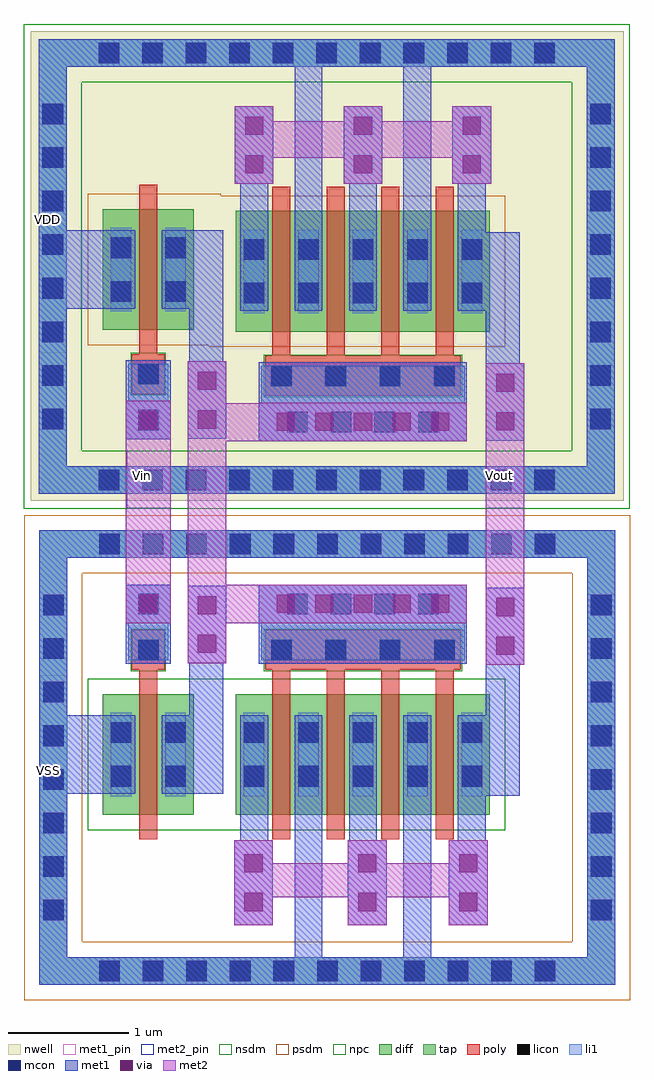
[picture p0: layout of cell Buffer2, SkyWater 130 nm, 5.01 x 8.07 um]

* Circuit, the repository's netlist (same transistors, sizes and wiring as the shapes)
** sch_path: /foss/designs/Buffer/Buffer2.sch
.subckt Buffer2 VDD Vin Vout VSS
*.PININFO VDD:B Vin:B Vout:B VSS:B
M1 net1 Vin VSS VSS sky130_fd_pr__nfet_01v8 L=0.15 W=1 nf=1 ad='int((nf+1)/2) * W/nf * 0.29' as='int((nf+2)/2) * W/nf * 0.29' pd='2*int((nf+1)/2) * (W/nf + 0.29)'
+ ps='2*int((nf+2)/2) * (W/nf + 0.29)' nrd='0.29 / W' nrs='0.29 / W' sa=0 sb=0 sd=0 mult=1 m=1
M2 net1 Vin VDD VDD sky130_fd_pr__pfet_01v8 L=0.15 W=1 nf=1 ad='int((nf+1)/2) * W/nf * 0.29' as='int((nf+2)/2) * W/nf * 0.29' pd='2*int((nf+1)/2) * (W/nf + 0.29)'
+ ps='2*int((nf+2)/2) * (W/nf + 0.29)' nrd='0.29 / W' nrs='0.29 / W' sa=0 sb=0 sd=0 mult=1 m=1
M3 Vout net1 VSS VSS sky130_fd_pr__nfet_01v8 L=0.15 W=1 nf=1 ad='int((nf+1)/2) * W/nf * 0.29' as='int((nf+2)/2) * W/nf * 0.29' pd='2*int((nf+1)/2) * (W/nf + 0.29)'
+ ps='2*int((nf+2)/2) * (W/nf + 0.29)' nrd='0.29 / W' nrs='0.29 / W' sa=0 sb=0 sd=0 mult=4 m=4
M4 Vout net1 VDD VDD sky130_fd_pr__pfet_01v8 L=0.15 W=1 nf=1 ad='int((nf+1)/2) * W/nf * 0.29' as='int((nf+2)/2) * W/nf * 0.29' pd='2*int((nf+1)/2) * (W/nf + 0.29)'
+ ps='2*int((nf+2)/2) * (W/nf + 0.29)' nrd='0.29 / W' nrs='0.29 / W' sa=0 sb=0 sd=0 mult=4 m=4
.ends
.end

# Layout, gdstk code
import gdstk
lib = gdstk.Library(unit=1e-6, precision=1e-09)
def R(c, l, rs):  # rectangles x0, y0, x1, y1
    for r in rs: c.add(gdstk.rectangle(r[:2], r[2:], *l))
def A(c, l, x, y, w, h, nx, ny, dx, dy):  # array of equal rectangles
    R(c, l, [(x+i*dx, y+j*dy, x+i*dx+w, y+j*dy+h) for i in range(nx) for j in range(ny)])
def P(c, l, *ps):  # polygons
    for p in ps: c.add(gdstk.Polygon(p, *l))
nwell = (64, 20)
diff = (65, 20)
tap = (65, 44)
poly = (66, 20)
licon = (66, 44)
li1 = (67, 20)
mcon = (67, 44)
met1_pin = (68, 16)
met1 = (68, 20)
via = (68, 44)
met2_pin = (69, 16)
met2 = (69, 20)
nsdm = (93, 44)
psdm = (94, 20)
npc = (95, 20)

pfet_1 = lib.new_cell('pfet$1')
R(pfet_1, nwell, [(-0.305,-0.72,1.055,1.38)])
R(pfet_1, diff, [(0,0,0.75,1)])
R(pfet_1, poly, [(0.24,-0.53,0.51,-0.2), (0.3,-0.2,0.45,1.2)])
R(pfet_1, licon, [(0.29,-0.45,0.46,-0.28), (0.065,0.235,0.235,0.405), (0.515,0.235,0.685,0.405), (0.065,0.595,0.235,0.765), (0.515,0.595,0.685,0.765)])
R(pfet_1, li1, [(0.21,-0.45,0.54,-0.28), (0.065,0.155,0.235,0.845), (0.515,0.155,0.685,0.845)])
R(pfet_1, mcon, [(0.29,-0.45,0.46,-0.28), (0.065,0.235,0.235,0.405), (0.515,0.235,0.685,0.405), (0.065,0.595,0.235,0.765), (0.515,0.595,0.685,0.765)])
R(pfet_1, met1, [(0.19,-0.48,0.56,-0.25), (0.035,0.175,0.265,0.825), (0.485,0.175,0.715,0.825)])
R(pfet_1, psdm, [(-0.125,-0.125,0.875,1.125)])
R(pfet_1, npc, [(0.23,-0.54,0.52,-0.19)])

nfet = lib.new_cell('nfet')
R(nfet, diff, [(0,0,0.75,1)])
R(nfet, poly, [(0.3,-0.2,0.45,1.2), (0.24,1.2,0.51,1.53)])
R(nfet, licon, [(0.065,0.235,0.235,0.405), (0.515,0.235,0.685,0.405), (0.065,0.595,0.235,0.765), (0.515,0.595,0.685,0.765), (0.29,1.28,0.46,1.45)])
R(nfet, li1, [(0.065,0.155,0.235,0.845), (0.515,0.155,0.685,0.845), (0.21,1.28,0.54,1.45)])
R(nfet, mcon, [(0.065,0.235,0.235,0.405), (0.515,0.235,0.685,0.405), (0.065,0.595,0.235,0.765), (0.515,0.595,0.685,0.765), (0.29,1.28,0.46,1.45)])
R(nfet, met1, [(0.035,0.175,0.265,0.825), (0.485,0.175,0.715,0.825), (0.19,1.25,0.56,1.48)])
R(nfet, nsdm, [(-0.125,-0.125,0.875,1.125)])
R(nfet, npc, [(0.23,1.19,0.52,1.54)])

vias_gen_10 = lib.new_cell('vias_gen$10')
R(vias_gen_10, li1, [(0,0,0.37,0.32)])
R(vias_gen_10, mcon, [(0.1,0.075,0.27,0.245)])
R(vias_gen_10, met1, [(0,0,0.37,0.32)])
R(vias_gen_10, via, [(0.11,0.085,0.26,0.235)])
R(vias_gen_10, met2, [(0,0,0.37,0.32)])

vias_gen_9 = lib.new_cell('vias_gen$9')
R(vias_gen_9, li1, [(0,0,1.72,0.32)])
A(vias_gen_9, mcon, 0.235, 0.075, 0.17, 0.17, 4, 1, 0.36, 0)
R(vias_gen_9, met1, [(0,0,1.72,0.32)])
A(vias_gen_9, via, 0.145, 0.085, 0.15, 0.15, 5, 1, 0.32, 0)
R(vias_gen_9, met2, [(0,0,1.72,0.32)])

guard_ring_gen = lib.new_cell('guard_ring_gen')
P(guard_ring_gen, tap, [(-0.23,-0.23),(-0.23,3.3),(0,3.3),(0,0),(4.3,0),(4.3,3.3),(-0.23,3.3),(-0.23,3.53),(4.53,3.53),(4.53,-0.23)])
A(guard_ring_gen, licon, 0.265, -0.2, 0.17, 0.17, 11, 2, 0.36, 3.53)
A(guard_ring_gen, licon, -0.2, 0.305, 0.17, 0.17, 1, 8, 0, 0.36)
A(guard_ring_gen, licon, 4.33, 0.305, 0.17, 0.17, 1, 8, 0, 0.36)
P(guard_ring_gen, li1, [(-0.23,-0.23),(-0.23,3.3),(0,3.3),(0,0),(4.3,0),(4.3,3.3),(-0.23,3.3),(-0.23,3.53),(4.53,3.53),(4.53,-0.23)])
A(guard_ring_gen, mcon, 0.265, -0.2, 0.17, 0.17, 11, 2, 0.36, 3.53)
A(guard_ring_gen, mcon, -0.2, 0.305, 0.17, 0.17, 1, 8, 0, 0.36)
A(guard_ring_gen, mcon, 4.33, 0.305, 0.17, 0.17, 1, 8, 0, 0.36)
P(guard_ring_gen, met1, [(-0.23,-0.23),(-0.23,3.3),(0,3.3),(0,0),(4.3,0),(4.3,3.3),(-0.23,3.3),(-0.23,3.53),(4.53,3.53),(4.53,-0.23)])
P(guard_ring_gen, nsdm, [(-0.355,-0.355),(-0.355,3.175),(0.125,3.175),(0.125,0.125),(4.175,0.125),(4.175,3.175),(-0.355,3.175),(-0.355,3.655),(4.655,3.655),(4.655,-0.355)])

guard_ring_gen_1 = lib.new_cell('guard_ring_gen$1')
P(guard_ring_gen_1, tap, [(-0.23,-0.23),(-0.23,3.3),(0,3.3),(0,0),(4.3,0),(4.3,3.3),(-0.23,3.3),(-0.23,3.53),(4.53,3.53),(4.53,-0.23)])
A(guard_ring_gen_1, licon, 0.265, -0.2, 0.17, 0.17, 11, 2, 0.36, 3.53)
A(guard_ring_gen_1, licon, -0.2, 0.305, 0.17, 0.17, 1, 8, 0, 0.36)
A(guard_ring_gen_1, licon, 4.33, 0.305, 0.17, 0.17, 1, 8, 0, 0.36)
P(guard_ring_gen_1, li1, [(-0.23,-0.23),(-0.23,3.3),(0,3.3),(0,0),(4.3,0),(4.3,3.3),(-0.23,3.3),(-0.23,3.53),(4.53,3.53),(4.53,-0.23)])
A(guard_ring_gen_1, mcon, 0.265, -0.2, 0.17, 0.17, 11, 2, 0.36, 3.53)
A(guard_ring_gen_1, mcon, -0.2, 0.305, 0.17, 0.17, 1, 8, 0, 0.36)
A(guard_ring_gen_1, mcon, 4.33, 0.305, 0.17, 0.17, 1, 8, 0, 0.36)
P(guard_ring_gen_1, met1, [(-0.23,-0.23),(-0.23,3.3),(0,3.3),(0,0),(4.3,0),(4.3,3.3),(-0.23,3.3),(-0.23,3.53),(4.53,3.53),(4.53,-0.23)])
P(guard_ring_gen_1, psdm, [(-0.355,-0.355),(-0.355,3.175),(0.125,3.175),(0.125,0.125),(4.175,0.125),(4.175,3.175),(-0.355,3.175),(-0.355,3.655),(4.655,3.655),(4.655,-0.355)])

vias_gen_1 = lib.new_cell('vias_gen$1')
R(vias_gen_1, met1, [(0,0,0.32,0.7)])
R(vias_gen_1, via, [(0.085,0.115,0.235,0.265), (0.085,0.435,0.235,0.585)])
R(vias_gen_1, met2, [(0,0,0.32,0.7)])

vias_gen = lib.new_cell('vias_gen')
R(vias_gen, met1, [(0,0,0.32,0.64)])
R(vias_gen, via, [(0.085,0.085,0.235,0.235), (0.085,0.405,0.235,0.555)])
R(vias_gen, met2, [(0,0,0.32,0.64)])

buffer2 = lib.new_cell('Buffer2')
R(buffer2, nwell, [(-0.335,1.395,4.565,5.275)])
A(buffer2, poly, 1.87, -0.005, 0.18, 0.33, 3, 2, 0.45, 2.265)
A(buffer2, li1, 1.9, 0.075, 0.12, 0.17, 3, 2, 0.45, 2.265)
R(buffer2, li1, [(0.47,0.245,0.8,0.38), (1.57,0.245,3.25,0.38), (1.57,2.205,3.25,2.34), (0.47,2.22,0.8,2.355)])
R(buffer2, met1_pin, [(-0.26,-1.94,-0.035,-0.05), (-0.27,2.615,-0.045,4.505)])
A(buffer2, met1, 1.92, 0.045, 0.08, 0.23, 3, 2, 0.45, 2.265)
A(buffer2, met1, 1.395, 3.615, 0.23, 0.4, 3, 1, 0.9, 0)
R(buffer2, met1, [(1.845,-2.38,2.075,-1.03), (2.745,-2.38,2.975,-1.03), (1.395,-1.42,1.625,-1.03), (2.295,-1.415,2.525,-1.03), (3.195,-1.415,3.425,-1.03), (3.425,-1.045,3.705,0.035), (-0.035,-1.03,0.295,-0.38), (0.975,-1.03,1.255,0.05), (0.45,0.275,0.82,0.38), (1.55,0.275,3.27,0.38), (1.55,2.205,3.27,2.31), (0.45,2.22,0.82,2.325), (3.425,2.53,3.705,3.615), (0.975,2.545,1.255,3.63), (-0.04,2.98,0.295,3.63), (1.845,3.615,2.075,4.985), (2.745,3.615,2.975,4.985)])
R(buffer2, met2_pin, [(0.455,1.33,0.82,1.805), (3.425,1.33,3.745,1.68)])
R(buffer2, met2, [(1.63,-1.885,2.3,-1.605), (2.565,-1.885,3.145,-1.605), (1.28,0.38,1.55,0.7), (3.425,0.675,3.745,1.89), (0.96,0.69,1.28,1.905), (0.45,0.7,0.82,1.9), (1.28,1.885,1.55,2.2), (1.67,4.23,2.25,4.53), (2.57,4.23,3.15,4.53)])
R(buffer2, nsdm, [(1.135,-1.33,1.235,-0.08)])
R(buffer2, psdm, [(1.135,2.665,1.235,3.93)])
A(buffer2, npc, 1.88, -0.015, 0.16, 0.35, 3, 2, 0.45, 2.265)
buffer2.add(gdstk.Reference(pfet_1, (1.36,2.79)))
buffer2.add(gdstk.Reference(pfet_1, (0.26,2.805)))
buffer2.add(gdstk.Reference(pfet_1, (2.26,2.79)))
buffer2.add(gdstk.Reference(pfet_1, (1.81,2.79)))
buffer2.add(gdstk.Reference(nfet, (2.71,-1.205)))
buffer2.add(gdstk.Reference(vias_gen_10, (0.45,1.9)))
buffer2.add(gdstk.Reference(vias_gen_9, (1.55,1.885)))
buffer2.add(gdstk.Reference(guard_ring_gen, (-0.04,1.68)))
buffer2.add(gdstk.Reference(guard_ring_gen_1, (-0.035,-2.38)))
buffer2.add(gdstk.Reference(vias_gen_10, (0.45,0.38)))
buffer2.add(gdstk.Reference(vias_gen_1, (1.345,-2.115)))
buffer2.add(gdstk.Reference(vias_gen_1, (3.12,-2.115)))
buffer2.add(gdstk.Reference(vias_gen_1, (2.285,-2.115)))
buffer2.add(gdstk.Reference(vias_gen_9, (1.55,0.38)))
buffer2.add(gdstk.Reference(pfet_1, (2.71,2.79)))
buffer2.add(gdstk.Reference(nfet, (2.26,-1.205)))
buffer2.add(gdstk.Reference(nfet, (1.81,-1.205)))
buffer2.add(gdstk.Reference(nfet, (1.36,-1.205)))
buffer2.add(gdstk.Reference(nfet, (0.26,-1.205)))
buffer2.add(gdstk.Reference(vias_gen, (3.425,1.89)))
buffer2.add(gdstk.Reference(vias_gen, (0.96,1.905)))
buffer2.add(gdstk.Reference(vias_gen, (0.96,0.05)))
buffer2.add(gdstk.Reference(vias_gen, (3.15,4.015)))
buffer2.add(gdstk.Reference(vias_gen, (2.25,4.015)))
buffer2.add(gdstk.Reference(vias_gen, (1.35,4.015)))
buffer2.add(gdstk.Reference(vias_gen, (3.425,0.035)))
buffer2.add(gdstk.Label('Vin', (0.585,1.605), layer=69, texttype=5))
buffer2.add(gdstk.Label('Vout', (3.535,1.6), layer=69, texttype=5))
buffer2.add(gdstk.Label('VDD', (-0.2,3.715), layer=68, texttype=5))
buffer2.add(gdstk.Label('VSS', (-0.19,-0.84), layer=68, texttype=5))

lib.write_gds('Buffer2.gds')
